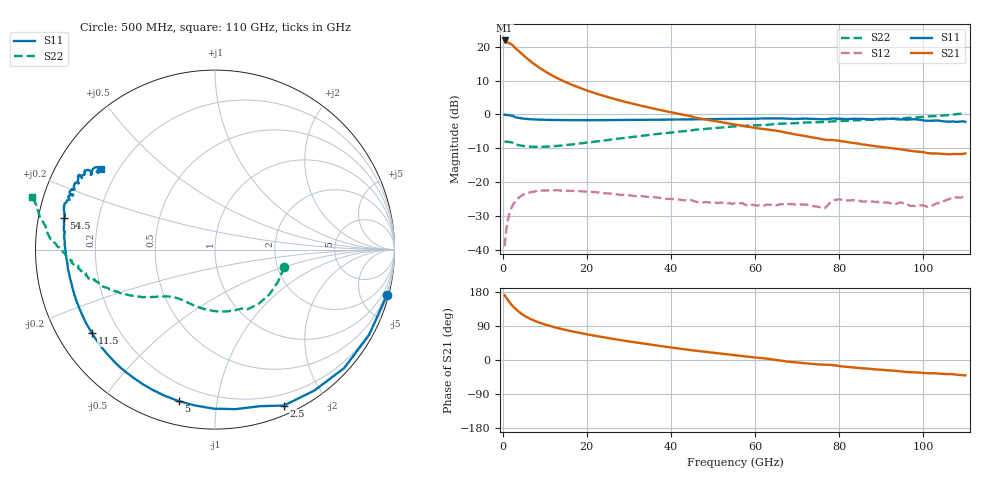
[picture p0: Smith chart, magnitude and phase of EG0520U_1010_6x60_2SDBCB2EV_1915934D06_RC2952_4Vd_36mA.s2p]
!File name = EG0520U_1010_6x60_2SDBCB2EV_1915934D06_RC2952_4Vd_36mA.s2p
!Base file name = EG0520U_1010_6x60_2SDBCB2EV_1915934D06_RC2952
!Date = 8/23/2019
!Time = 1:17 PM
!Test duration(min) = 0.15
!Test = S-Parameters
!MPTS version = 8.91.5
!State File = C:\Data\PNA\20190821205423\S-Parameters_2019-08-23.sta
!Cal File =
!ComputerName = CMPE-LAB-6
!Comments =
!Attenuation = 0
!Z0 = 50
!Input Power(dBm) = -13.00
!Device ID = EG0520U_1010_6x60_2SDBCB2EV
!Row = 29
!Column = 52
!Technology = QPHT09
!Lot/Wafer = 1915934D06
!Gate Size = 360
!Mask = EG0520
!Cal Standards = GaAs BCB
!Cal Kit = EG2306
!Job Number = 20190821205423
!Device Type = FET
!set_Vg(v) = -1.500
!set_Vd(v) = 4.000
!set_Vd(mA) = 36.000
!file_name = EG0520U_1010_6x60_2SDBCB2EV_1915934D06_RC2952_4Vd_36mA.s2p
!Vd(V) = 4.000
!Vd(mA) = 36.142
!Vg(V) = -0.530
!Vg(mA) = -0.004
# GHz  S  DB  R  50
!%	Freq(GHz)  s11(dB)  s11(deg)  s21(dB)  s21(deg)  s12(dB)  s12(deg)  s22(dB)  s22(deg)
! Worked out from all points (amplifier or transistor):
!   220 points, 500 MHz to 110 GHz, reference 50 ohm
!   highest |S21| = 21.8 dB at 500 MHz (marker M1)
!   |S21| within 3 dB of that: start of sweep to 3.72 GHz
!   unconditionally stable (mu >= 1): 30.92 GHz to 101.5 GHz
!   at 18.5 GHz: K = 0.57, MSG = 15.2 dB, |S12| = -22.7 dB
!   at 55.5 GHz: K = 1.57, MAG = 7.1 dB, |S12| = -26.2 dB
!   at 110 GHz: K = -2.20, MSG = 6.2 dB, |S12| = -23.8 dB
!   S11 on the Smith chart (normalised r, x): 500 MHz: 0.27, -7.75; 2.5 GHz: 0.09, -1.53; 5 GHz: 0.11, -0.78; 11.5 GHz: 0.10, -0.31; 54.5 GHz: 0.08, +0.10; 110 GHz: 0.14, +0.31
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0.5  -0.08 -14.7  21.84 171.0  -38.90 80.7  -8.00 -14.0
1  -0.17 -29.0  21.42 162.5  -33.12 73.3  -8.09 -26.9
1.5  -0.21 -42.5  21.06 155.0  -29.97 66.0  -8.12 -39.3
2  -0.35 -54.8  20.79 147.6  -27.96 59.3  -8.23 -51.4
2.5  -0.45 -66.2  20.34 141.2  -26.59 53.5  -8.43 -61.4
3.5  -0.95 -82.7  19.09 130.8  -25.02 44.6  -8.99 -73.0
4.5  -1.16 -97.3  17.96 122.1  -24.02 37.2  -9.22 -86.1
5  -1.23 -103.5  17.41 118.4  -23.68 34.1  -9.32 -91.4
6  -1.36 -114.0  16.35 111.8  -23.20 29.0  -9.47 -100.3
7.5  -1.48 -126.0  14.89 104.0  -22.78 23.1  -9.55 -110.2
9.5  -1.56 -137.3  13.19 95.8  -22.47 17.3  -9.55 -118.5
11.5  -1.63 -145.7  11.71 89.0  -22.41 13.0  -9.46 -124.5
15  -1.68 -156.0  9.55 79.3  -22.50 7.8  -9.07 -131.4
19  -1.70 -164.0  7.54 70.0  -22.74 3.5  -8.49 -136.1
27  -1.65 -174.0  4.41 54.4  -23.53 -1.0  -7.23 -142.7
37  -1.53 178.1  1.43 37.6  -24.56 -1.4  -5.75 -149.8
54.5  -1.32 168.3  -2.83 13.5  -26.46 4.8  -3.59 -162.0
55.5  -1.33 167.6  -3.03 12.2  -26.20 3.6  -3.50 -162.7
73.5  -1.31 159.4  -6.75 -10.3  -27.00 4.7  -2.29 -172.1
92  -1.31 151.1  -9.90 -27.6  -26.11 -7.0  -1.34 179.8
101  -1.85 149.0  -11.44 -34.9  -27.27 -5.3  -0.60 174.8
110  -2.17 144.5  -11.52 -40.7  -23.83 -7.0  0.49 164.1
